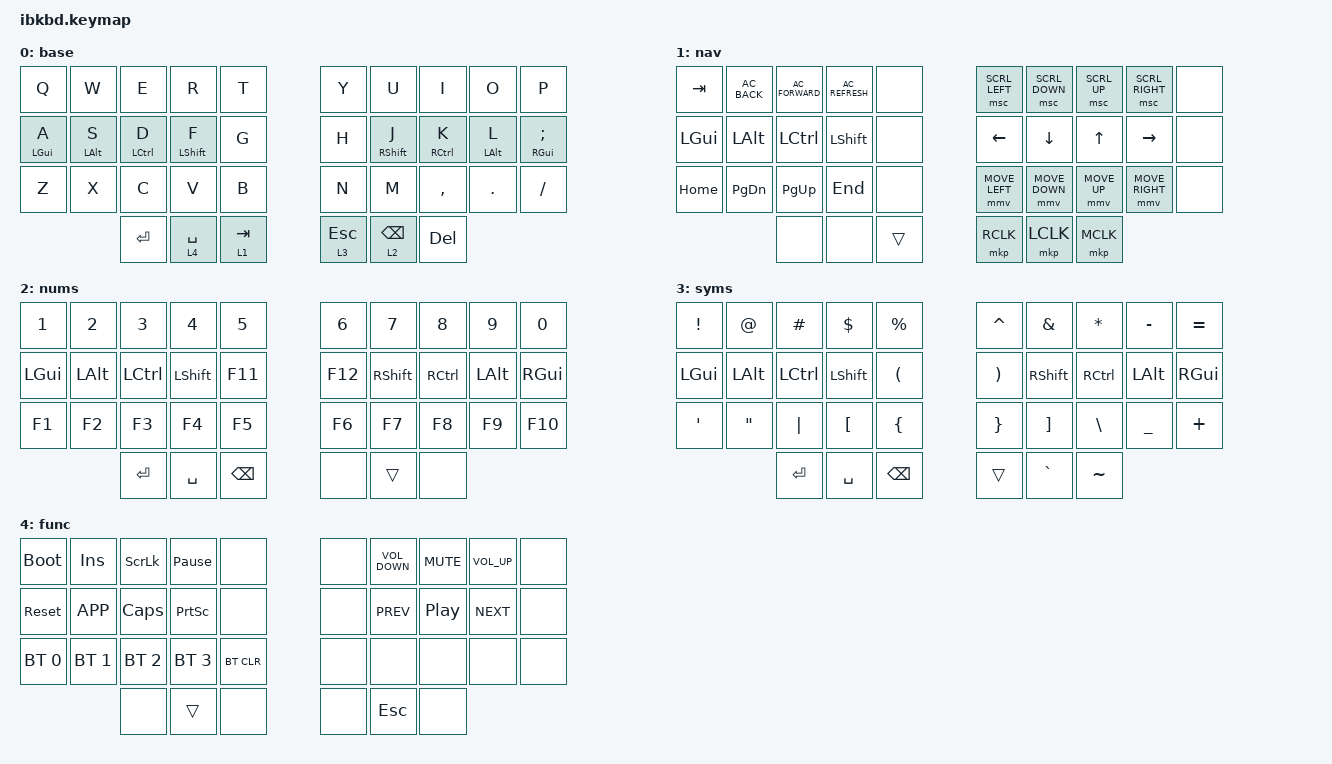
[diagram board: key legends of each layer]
#include <behaviors.dtsi>
#include <dt-bindings/zmk/bt.h>
#include <dt-bindings/zmk/keys.h>
#include <dt-bindings/zmk/mouse.h>

#undef ZMK_MOUSE_DEFAULT_MOVE_VAL
#define ZMK_MOUSE_DEFAULT_MOVE_VAL 1800

#undef ZMK_MOUSE_DEFAULT_SCRL_VAL
#define ZMK_MOUSE_DEFAULT_SCRL_VAL 25

#ifdef VOLD
#undef VOLD
#endif
#define VOLD C_VOLUME_DOWN

#ifdef VOLU
#undef VOLU
#endif
#define VOLU C_VOLUME_UP

#ifdef PAUSE
#undef PAUSE
#endif
#define PAUSE PAUSE_BREAK

/ {
  chosen { zmk,matrix-transform = &default_transform; };
};

&lt {
  tapping-term-ms = <175>;
  quick-tap-ms = <200>;
};

/ {
  behaviors {
  hm: homerow_mods {
      compatible = "zmk,behavior-hold-tap";
      label = "Homerow Mods";
      #binding-cells = <2>;
      tapping-term-ms = <175>;
      quick-tap-ms = <200>;
      flavor = "tap-preferred";
      bindings = <&kp>, <&kp>;
    };
  };

  keymap {
    compatible = "zmk,keymap";

    base {
      labels = "Base";
      bindings = <
&kp Q            &kp W            &kp E            &kp R            &kp T            &kp Y            &kp U            &kp I            &kp O            &kp P
&hm LGUI A       &hm LALT S       &hm LCTRL D      &hm LSHFT F      &kp G            &kp H            &hm RSHFT J      &hm RCTRL K      &hm LALT L       &hm RGUI SEMI
&kp Z            &kp X            &kp C            &kp V            &kp B            &kp N            &kp M            &kp COMMA        &kp DOT          &kp SLASH
                                  &kp ENTER        &lt 4 SPACE      &lt 1 TAB        &lt 3 ESC        &lt 2 BSPC       &kp DEL
      >;
    };

    nav {
      labels = "Nav";
      bindings = <
&kp TAB          &kp C_AC_BACK    &kp C_AC_FORWARD &kp C_AC_REFRESH &none            &msc SCRL_LEFT   &msc SCRL_DOWN   &msc SCRL_UP     &msc SCRL_RIGHT  &none
&kp LGUI         &kp LALT         &kp LCTRL        &kp LSHFT        &none            &kp LEFT         &kp DOWN         &kp UP           &kp RIGHT        &none
&kp HOME         &kp PG_DN        &kp PG_UP        &kp END          &none            &mmv MOVE_LEFT   &mmv MOVE_DOWN   &mmv MOVE_UP     &mmv MOVE_RIGHT  &none
                                  &none            &none            &trans           &mkp RCLK        &mkp LCLK        &mkp MCLK
      >;
    };

    nums {
      labels = "Nums";
      bindings = <
&kp N1           &kp N2           &kp N3           &kp N4           &kp N5           &kp N6           &kp N7           &kp N8           &kp N9           &kp N0
&kp LGUI         &kp LALT         &kp LCTRL        &kp LSHFT        &kp F11          &kp F12          &kp RSHFT        &kp RCTRL        &kp LALT         &kp RGUI
&kp F1           &kp F2           &kp F3           &kp F4           &kp F5           &kp F6           &kp F7           &kp F8           &kp F9           &kp F10
                                  &kp ENTER        &kp SPACE        &kp BSPC         &none            &trans           &none
      >;
    };

    syms {
      labels = "Syms";
      bindings = <
&kp EXCL         &kp AT           &kp HASH         &kp DLLR         &kp PRCNT        &kp CARET        &kp AMPS         &kp ASTRK        &kp MINUS        &kp EQUAL
&kp LGUI         &kp LALT         &kp LCTRL        &kp LSHFT        &kp LPAR         &kp RPAR         &kp RSHFT        &kp RCTRL        &kp LALT         &kp RGUI
&kp APOS         &kp DQT          &kp PIPE         &kp LBKT         &kp LBRC         &kp RBRC         &kp RBKT         &kp BSLH         &kp UNDER        &kp PLUS
                                  &kp ENTER        &kp SPACE        &kp BSPC         &trans           &kp GRAVE        &kp TILDE
      >;
    };

    func {
      labels = "Func";
      bindings = <
&bootloader      &kp INS          &kp SLCK         &kp PAUSE        &none            &none            &kp VOLD         &kp C_MUTE       &kp VOLU         &none
&sys_reset       &kp K_APP        &kp CAPS         &kp PSCRN        &none            &none            &kp C_PREV       &kp C_PP         &kp C_NEXT       &none
&bt BT_SEL 0     &bt BT_SEL 1     &bt BT_SEL 2     &bt BT_SEL 3     &bt BT_CLR       &none            &none            &none            &none            &none
                                  &none            &trans           &none            &none            &kp ESC          &none
      >;
    };
  };
};
